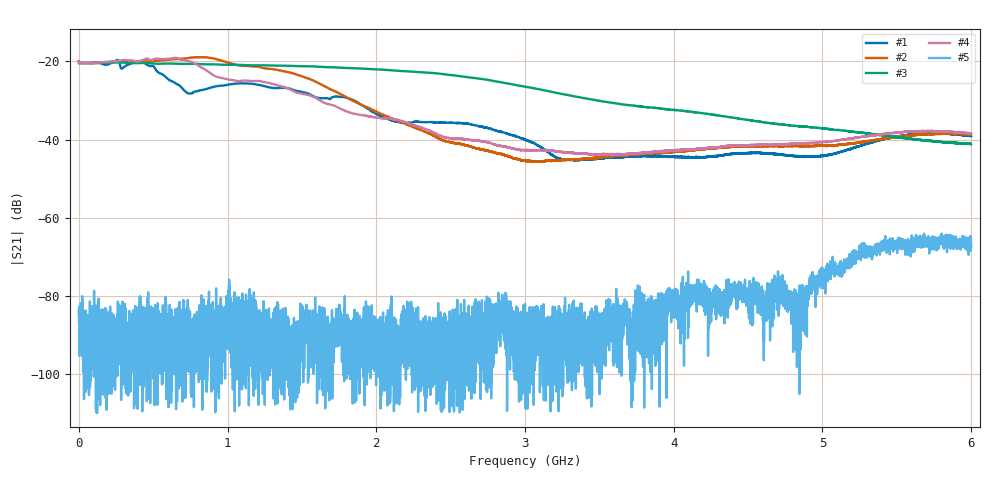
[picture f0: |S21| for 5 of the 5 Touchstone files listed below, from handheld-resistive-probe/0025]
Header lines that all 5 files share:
! Ref Plane: 0.000 mm
# MHZ S MA R  50
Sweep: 300 kHz to 6 GHz
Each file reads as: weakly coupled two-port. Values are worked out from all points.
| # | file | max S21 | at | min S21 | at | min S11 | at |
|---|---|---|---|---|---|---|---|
| 1 | flexground.s2p | -19.64 dB | 258.9 MHz | -45.3 dB | 3.334 GHz | -26.6 dB | 300 kHz |
| 2 | leafground.s2p | -18.94 dB | 839.1 MHz | -45.7 dB | 3.085 GHz | -26.6 dB | 300 kHz |
| 3 | tipground.s2p | -20.10 dB | 300 kHz | -41.1 dB | 6 GHz | -26.5 dB | 300 kHz |
| 4 | zground.s2p | -19.08 dB | 647.7 MHz | -43.9 dB | 3.485 GHz | -26.6 dB | 300 kHz |
| 5 | zin.s2p | -64.02 dB | 5.803 GHz | -109.9 dB | 120.3 MHz | -5.2 dB | 2.674 GHz |
